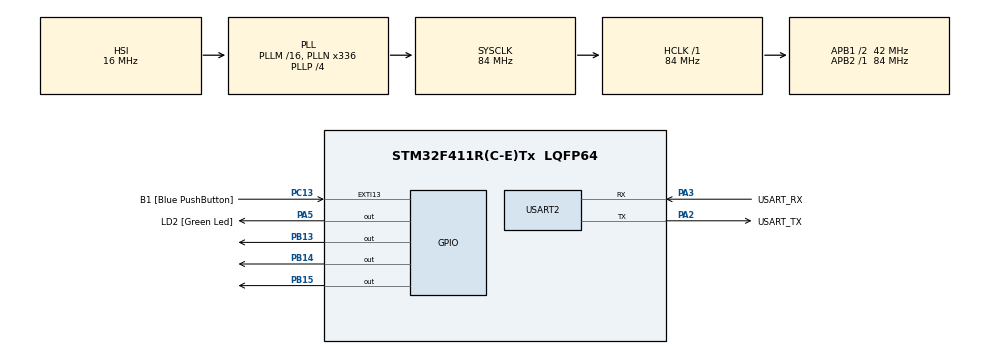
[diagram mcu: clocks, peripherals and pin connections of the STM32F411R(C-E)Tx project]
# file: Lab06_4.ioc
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FREERTOS.BinarySemaphores01=control_sem1,Dynamic,NULL;control_sem2,Dynamic,NULL
FREERTOS.Queues01=box,256,char,0,Dynamic,NULL,NULL
FREERTOS.Tasks01=defaultTask,24,128,StartDefaultTask,Default,NULL,Dynamic,NULL,NULL;t1,24,128,t1_thread,Default,NULL,Dynamic,NULL,NULL;t2,24,128,t2_thread,Default,NULL,Dynamic,NULL,NULL;t3,24,128,t3_thread,Default,NULL,Dynamic,NULL,NULL;t4,24,128,t4_thread,Default,NULL,Dynamic,NULL,NULL;speaker01,24,128,speaker01_thread,Default,NULL,Dynamic,NULL,NULL;speaker02,24,128,speaker02_thread,Default,NULL,Dynamic,NULL,NULL;mailbox,8,128,mailbox_thread,Default,NULL,Dynamic,NULL,NULL
FREERTOS.configUSE_NEWLIB_REENTRANT=1
Mcu.Family=STM32F4
Mcu.Name=STM32F411R(C-E)Tx
Mcu.Package=LQFP64
NVIC.PriorityGroup=NVIC_PRIORITYGROUP_4
NVIC.TIM2_IRQn=true\:15\:0\:false\:false\:true\:false\:false\:true\:true
NVIC.TimeBase=TIM2_IRQn
NVIC.TimeBaseIP=TIM2
PA13.GPIO_Label=TMS
PA13.Mode=Serial_Wire
PA13.Signal=SYS_JTMS-SWDIO
PA14.GPIO_Label=TCK
PA14.Mode=Serial_Wire
PA14.Signal=SYS_JTCK-SWCLK
PA2.GPIO_Label=USART_TX
PA2.Mode=Asynchronous
PA2.Signal=USART2_TX
PA3.GPIO_Label=USART_RX
PA3.Mode=Asynchronous
PA3.Signal=USART2_RX
PA5.GPIO_Label=LD2 [Green Led]
PA5.Signal=GPIO_Output
PB13.Signal=GPIO_Output
PB14.Signal=GPIO_Output
PB15.Signal=GPIO_Output
PB3.GPIO_Label=SWO
PB3.Signal=SYS_JTDO-SWO
PC13-ANTI_TAMP.GPIO_Label=B1 [Blue PushButton]
PC13-ANTI_TAMP.GPIO_ModeDefaultEXTI=GPIO_MODE_IT_FALLING
PC13-ANTI_TAMP.Signal=GPXTI13
PC14-OSC32_IN.Mode=LSE-External-Oscillator
PC14-OSC32_IN.Signal=RCC_OSC32_IN
PC15-OSC32_OUT.Mode=LSE-External-Oscillator
PC15-OSC32_OUT.Signal=RCC_OSC32_OUT
PH0\ -\ OSC_IN.Mode=HSE-External-Clock-Source
PH0\ -\ OSC_IN.Signal=RCC_OSC_IN
PH1\ -\ OSC_OUT.Mode=HSE-External-Clock-Source
PH1\ -\ OSC_OUT.Signal=RCC_OSC_OUT
ProjectManager.HeapSize=0x200
ProjectManager.StackSize=0x400
ProjectManager.TargetToolchain=STM32CubeIDE
RCC.48MHZClocksFreq_Value=84000000
RCC.AHBFreq_Value=84000000
RCC.APB1CLKDivider=RCC_HCLK_DIV2
RCC.APB1Freq_Value=42000000
RCC.APB1TimFreq_Value=84000000
RCC.APB2Freq_Value=84000000
RCC.APB2TimFreq_Value=84000000
RCC.CortexFreq_Value=84000000
RCC.FLatency-AdvancedSettings=FLASH_LATENCY_2
RCC.HCLKFreq_Value=84000000
RCC.HSE_VALUE=8000000
RCC.HSI_VALUE=16000000
RCC.PLLN=336
RCC.PLLP=RCC_PLLP_DIV4
RCC.SYSCLKFreq_VALUE=84000000
RCC.SYSCLKSource=RCC_SYSCLKSOURCE_PLLCLK
RCC.VCOOutputFreq_Value=336000000
USART2.VirtualMode=VM_ASYNC
VP_FREERTOS_VS_CMSIS_V2.Mode=CMSIS_V2
VP_SYS_VS_tim2.Mode=TIM2
board=NUCLEO-F411RE

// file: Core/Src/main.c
/* USER CODE BEGIN Header */
/**
  ******************************************************************************
  * @file           : main.c
  * @brief          : Main program body
  ******************************************************************************
  * @attention
  *
  * Copyright (c) 2023 STMicroelectronics.
  * All rights reserved.
  *
  * This software is licensed under terms that can be found in the LICENSE file
  * in the root directory of this software component.
  * If no LICENSE file comes with this software, it is provided AS-IS.
  *
  ******************************************************************************
  */
/* USER CODE END Header */
#include "main.h"
#include "cmsis_os.h"

UART_HandleTypeDef huart2;

/* Definitions for defaultTask */
osThreadId_t defaultTaskHandle;
const osThreadAttr_t defaultTask_attributes = {
  .name = "defaultTask",
  .stack_size = 128 * 4,
  .priority = (osPriority_t) osPriorityNormal,
};
/* Definitions for t1 */
osThreadId_t t1Handle;
const osThreadAttr_t t1_attributes = {
  .name = "t1",
  .stack_size = 128 * 4,
  .priority = (osPriority_t) osPriorityNormal,
};
/* Definitions for t2 */
osThreadId_t t2Handle;
const osThreadAttr_t t2_attributes = {
  .name = "t2",
  .stack_size = 128 * 4,
  .priority = (osPriority_t) osPriorityNormal,
};
/* Definitions for t3 */
osThreadId_t t3Handle;
const osThreadAttr_t t3_attributes = {
  .name = "t3",
  .stack_size = 128 * 4,
  .priority = (osPriority_t) osPriorityNormal,
};
/* Definitions for t4 */
osThreadId_t t4Handle;
const osThreadAttr_t t4_attributes = {
  .name = "t4",
  .stack_size = 128 * 4,
  .priority = (osPriority_t) osPriorityNormal,
};
/* Definitions for speaker01 */
osThreadId_t speaker01Handle;
const osThreadAttr_t speaker01_attributes = {
  .name = "speaker01",
  .stack_size = 128 * 4,
  .priority = (osPriority_t) osPriorityNormal,
};
/* Definitions for speaker02 */
osThreadId_t speaker02Handle;
const osThreadAttr_t speaker02_attributes = {
  .name = "speaker02",
  .stack_size = 128 * 4,
  .priority = (osPriority_t) osPriorityNormal,
};
/* Definitions for mailbox */
osThreadId_t mailboxHandle;
const osThreadAttr_t mailbox_attributes = {
  .name = "mailbox",
  .stack_size = 128 * 4,
  .priority = (osPriority_t) osPriorityLow,
};
/* Definitions for box */
osMessageQueueId_t boxHandle;
const osMessageQueueAttr_t box_attributes = {
  .name = "box"
};
/* Definitions for control_sem1 */
osSemaphoreId_t control_sem1Handle;
const osSemaphoreAttr_t control_sem1_attributes = {
  .name = "control_sem1"
};
/* Definitions for control_sem2 */
osSemaphoreId_t control_sem2Handle;
const osSemaphoreAttr_t control_sem2_attributes = {
  .name = "control_sem2"
};

void SystemClock_Config(void);
static void MX_GPIO_Init(void);
static void MX_USART2_UART_Init(void);
void StartDefaultTask(void *argument);
void t1_thread(void *argument);
void t2_thread(void *argument);
void t3_thread(void *argument);
void t4_thread(void *argument);
void speaker01_thread(void *argument);
void speaker02_thread(void *argument);
void mailbox_thread(void *argument);

int main(void)
{

  /* MCU Configuration--------------------------------------------------------*/

  /* Reset of all peripherals, Initializes the Flash interface and the Systick. */
  HAL_Init();

  /* Configure the system clock */
  SystemClock_Config();

  /* Initialize all configured peripherals */
  MX_GPIO_Init();
  MX_USART2_UART_Init();

  /* Init scheduler */
  osKernelInitialize();

  /* Create the semaphores(s) */
  /* creation of control_sem1 */
  control_sem1Handle = osSemaphoreNew(1, 1, &control_sem1_attributes);

  /* creation of control_sem2 */
  control_sem2Handle = osSemaphoreNew(1, 1, &control_sem2_attributes);

  /* Create the queue(s) */
  /* creation of box */
  boxHandle = osMessageQueueNew (256, sizeof(char), &box_attributes);

  /* Create the thread(s) */
  /* creation of defaultTask */
  defaultTaskHandle = osThreadNew(StartDefaultTask, NULL, &defaultTask_attributes);

  /* creation of t1 */
  t1Handle = osThreadNew(t1_thread, NULL, &t1_attributes);

  /* creation of t2 */
  t2Handle = osThreadNew(t2_thread, NULL, &t2_attributes);

  /* creation of t3 */
  t3Handle = osThreadNew(t3_thread, NULL, &t3_attributes);

  /* creation of t4 */
  t4Handle = osThreadNew(t4_thread, NULL, &t4_attributes);

  /* creation of speaker01 */
  speaker01Handle = osThreadNew(speaker01_thread, NULL, &speaker01_attributes);

  /* creation of speaker02 */
  speaker02Handle = osThreadNew(speaker02_thread, NULL, &speaker02_attributes);

  /* creation of mailbox */
  mailboxHandle = osThreadNew(mailbox_thread, NULL, &mailbox_attributes);

  /* Start scheduler */
  osKernelStart();
  /* We should never get here as control is now taken by the scheduler */
  /* Infinite loop */
  while (1)
  {

  }
}

void SystemClock_Config(void)
{
  RCC_OscInitTypeDef RCC_OscInitStruct = {0};
  RCC_ClkInitTypeDef RCC_ClkInitStruct = {0};

  /** Configure the main internal regulator output voltage
  */
  __HAL_RCC_PWR_CLK_ENABLE();
  __HAL_PWR_VOLTAGESCALING_CONFIG(PWR_REGULATOR_VOLTAGE_SCALE1);

  /** Initializes the RCC Oscillators according to the specified parameters
  * in the RCC_OscInitTypeDef structure.
  */
  RCC_OscInitStruct.OscillatorType = RCC_OSCILLATORTYPE_HSI;
  RCC_OscInitStruct.HSIState = RCC_HSI_ON;
  RCC_OscInitStruct.HSICalibrationValue = RCC_HSICALIBRATION_DEFAULT;
  RCC_OscInitStruct.PLL.PLLState = RCC_PLL_ON;
  RCC_OscInitStruct.PLL.PLLSource = RCC_PLLSOURCE_HSI;
  RCC_OscInitStruct.PLL.PLLM = 16;
  RCC_OscInitStruct.PLL.PLLN = 336;
  RCC_OscInitStruct.PLL.PLLP = RCC_PLLP_DIV4;
  RCC_OscInitStruct.PLL.PLLQ = 4;
  if (HAL_RCC_OscConfig(&RCC_OscInitStruct) != HAL_OK)
  {
    Error_Handler();
  }

  /** Initializes the CPU, AHB and APB buses clocks
  */
  RCC_ClkInitStruct.ClockType = RCC_CLOCKTYPE_HCLK|RCC_CLOCKTYPE_SYSCLK
                              |RCC_CLOCKTYPE_PCLK1|RCC_CLOCKTYPE_PCLK2;
  RCC_ClkInitStruct.SYSCLKSource = RCC_SYSCLKSOURCE_PLLCLK;
  RCC_ClkInitStruct.AHBCLKDivider = RCC_SYSCLK_DIV1;
  RCC_ClkInitStruct.APB1CLKDivider = RCC_HCLK_DIV2;
  RCC_ClkInitStruct.APB2CLKDivider = RCC_HCLK_DIV1;

  if (HAL_RCC_ClockConfig(&RCC_ClkInitStruct, FLASH_LATENCY_2) != HAL_OK)
  {
    Error_Handler();
  }
}

static void MX_USART2_UART_Init(void)
{

  huart2.Instance = USART2;
  huart2.Init.BaudRate = 115200;
  huart2.Init.WordLength = UART_WORDLENGTH_8B;
  huart2.Init.StopBits = UART_STOPBITS_1;
  huart2.Init.Parity = UART_PARITY_NONE;
  huart2.Init.Mode = UART_MODE_TX_RX;
  huart2.Init.HwFlowCtl = UART_HWCONTROL_NONE;
  huart2.Init.OverSampling = UART_OVERSAMPLING_16;
  if (HAL_UART_Init(&huart2) != HAL_OK)
  {
    Error_Handler();
  }

}

static void MX_GPIO_Init(void)
{
  GPIO_InitTypeDef GPIO_InitStruct = {0};

  /* GPIO Ports Clock Enable */
  __HAL_RCC_GPIOC_CLK_ENABLE();
  __HAL_RCC_GPIOH_CLK_ENABLE();
  __HAL_RCC_GPIOA_CLK_ENABLE();
  __HAL_RCC_GPIOB_CLK_ENABLE();

  /*Configure GPIO pin Output Level */
  HAL_GPIO_WritePin(LD2_GPIO_Port, LD2_Pin, GPIO_PIN_RESET);

  /*Configure GPIO pin Output Level */
  HAL_GPIO_WritePin(GPIOB, GPIO_PIN_13|GPIO_PIN_14|GPIO_PIN_15, GPIO_PIN_RESET);

  /*Configure GPIO pin : B1_Pin */
  GPIO_InitStruct.Pin = B1_Pin;
  GPIO_InitStruct.Mode = GPIO_MODE_IT_FALLING;
  GPIO_InitStruct.Pull = GPIO_NOPULL;
  HAL_GPIO_Init(B1_GPIO_Port, &GPIO_InitStruct);

  /*Configure GPIO pin : LD2_Pin */
  GPIO_InitStruct.Pin = LD2_Pin;
  GPIO_InitStruct.Mode = GPIO_MODE_OUTPUT_PP;
  GPIO_InitStruct.Pull = GPIO_NOPULL;
  GPIO_InitStruct.Speed = GPIO_SPEED_FREQ_LOW;
  HAL_GPIO_Init(LD2_GPIO_Port, &GPIO_InitStruct);

  /*Configure GPIO pins : PB13 PB14 PB15 */
  GPIO_InitStruct.Pin = GPIO_PIN_13|GPIO_PIN_14|GPIO_PIN_15;
  GPIO_InitStruct.Mode = GPIO_MODE_OUTPUT_PP;
  GPIO_InitStruct.Pull = GPIO_NOPULL;
  GPIO_InitStruct.Speed = GPIO_SPEED_FREQ_LOW;
  HAL_GPIO_Init(GPIOB, &GPIO_InitStruct);

}

void StartDefaultTask(void *argument)
{
  for(;;)
  {
    osDelay(1);
  }
}

void t1_thread(void *argument)
{
  /* USER CODE BEGIN t1_thread */
  /* Infinite loop */
  for(;;)
  {
	  HAL_GPIO_TogglePin(GPIOA,GPIO_PIN_5);
	  osDelay(50);
  }
  /* USER CODE END t1_thread */
}

void t2_thread(void *argument)
{
  /* USER CODE BEGIN t2_thread */
  /* Infinite loop */
  for(;;)
  {
	  HAL_GPIO_TogglePin(GPIOB,GPIO_PIN_13);
	  osDelay(18);
  }
  /* USER CODE END t2_thread */
}

void t3_thread(void *argument)
{
  /* USER CODE BEGIN t3_thread */
  /* Infinite loop */
  for(;;)
  {
	  HAL_GPIO_TogglePin(GPIOB,GPIO_PIN_14);
	  osDelay(128);
  }
  /* USER CODE END t3_thread */
}

void t4_thread(void *argument)
{
  /* USER CODE BEGIN t4_thread */
  /* Infinite loop */
  for(;;)
  {
	  HAL_GPIO_TogglePin(GPIOB,GPIO_PIN_15);
	  osDelay(64);
  }
  /* USER CODE END t4_thread */
}

void speaker01_thread(void *argument)
{
  /* USER CODE BEGIN speaker01_thread */
	int threadID = 0; // threadID is 0 for one thread and 1 for another
	int idx = 0;
	char buffer[32];
  /* Infinite loop */
//	osSemaphoreAcquire(control_semHandle, osWaitForever);
  for(;;)
  {
	osSemaphoreAcquire(control_sem2Handle, osWaitForever);
	sprintf(buffer, "TID: %d %d\r\n", threadID, idx);
	idx ++;
	for (int i = 0; i < strlen(buffer); i++) {
		osMessageQueuePut(boxHandle, &buffer[i], 0, osWaitForever);
//		osMessagePut(boxHandle, buffer[i], 1000);
	}
	osSemaphoreRelease(control_sem1Handle);
//	HAL_UART_Transmit(&huart2, buffer, strlen(buffer), 1000);
  }
//  osSemaphoreRelease(control_semHandle);
  /* USER CODE END speaker01_thread */
}

void speaker02_thread(void *argument)
{
  /* USER CODE BEGIN speaker02_thread */
	int threadID = 1; // threadID is 0 for one thread and 1 for another
	int idx = 0;
	char buffer[32];
  /* Infinite loop */
//	osSemaphoreAcquire(control_semHandle, osWaitForever);
  for(;;)
  {
	osSemaphoreAcquire(control_sem1Handle, osWaitForever);
	sprintf(buffer, "TID: %d %d\r\n", threadID, idx);
	idx ++;
	for (int i = 0; i < strlen(buffer); i++) {
		osMessageQueuePut(boxHandle, &buffer[i], 0, osWaitForever);
//		osMessagePut(boxHandle, buffer[i], 1000);
	}
	osSemaphoreRelease(control_sem2Handle);
//	osMessagePut(boxHandle, buffer, 1000);
//	HAL_UART_Transmit(&huart2, buffer, strlen(buffer), 1000);
  }
//  osSemaphoreRelease(control_semHandle);
  /* USER CODE END speaker02_thread */
}

void mailbox_thread(void *argument)
{
  /* USER CODE BEGIN mailbox_thread */
	char buffer;
  /* Infinite loop */
  for(;;)
  {
	osMessageQueueGet(boxHandle, &buffer, NULL, osWaitForever);
    HAL_UART_Transmit(&huart2, &buffer, sizeof(buffer), 1000);
  }
  /* USER CODE END mailbox_thread */
}

void HAL_TIM_PeriodElapsedCallback(TIM_HandleTypeDef *htim)
{
  if (htim->Instance == TIM2) {
    HAL_IncTick();
  }
}

void Error_Handler(void)
{
  __disable_irq();
  while (1)
  {
  }
}
